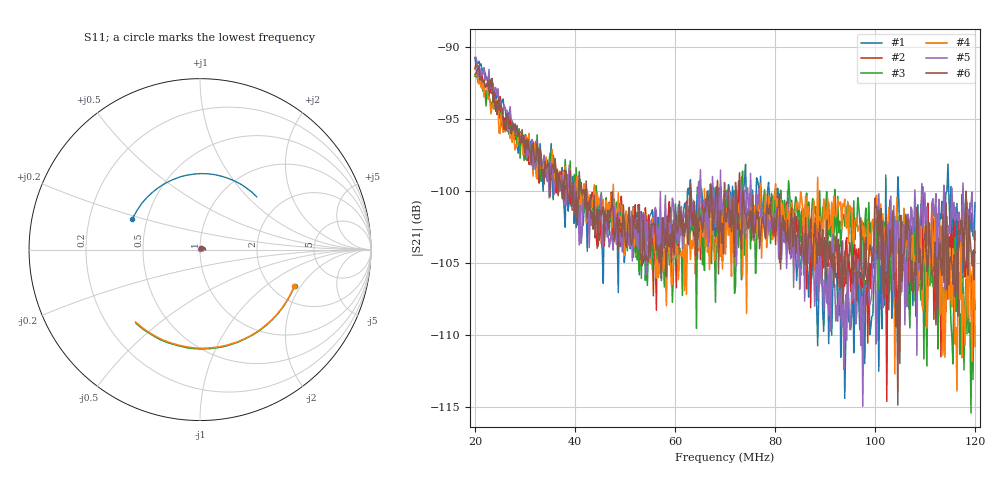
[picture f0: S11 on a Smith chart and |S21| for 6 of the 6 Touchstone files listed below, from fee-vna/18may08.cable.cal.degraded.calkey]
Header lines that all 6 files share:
! Anritsu VNA Master:  Model: MS2036C/10/77
! SN:  1601066
! Existing Calibration Information:
! TYPE:  Current Settings,  Active Cal Settings
! # POINTS:  500,  500
! START FREQ:  20.000 MHz,  20.000 MHz
! STOP FREQ:  120.000 MHz,  120.000 MHz
! SOURCE POWER:  High,  High
! IFBW:  50 Hz,  50 Hz
! AVG FACTOR:  1 ,  1
! REF PLANE 1:  0 mm,  0 mm
! REF PLANE 2:  0 mm,  0 mm
! CAL TYPE:  Full S11,  Full S11
! CAL METHOD:  SOLT,  SOLT
! CAL LINE TYPE:  Coax,  Coax
! DUT PORT 1:  K-Conn(F),  K-Conn(F)
! DUT PORT 2:  K-Conn(F),  K-Conn(F)
! CAL STATUS:  OK: Accuracy High,  --
# GHZ S DB R 50.0
! FREQ.GHZ  S11DB  S11A  S21DB  S21A  S12DB  S12A  S22DB  S22A
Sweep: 20 MHz to 120 MHz
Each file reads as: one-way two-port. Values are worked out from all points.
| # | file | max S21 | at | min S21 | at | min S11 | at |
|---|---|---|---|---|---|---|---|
| 1 | bot.20.2.s2p | -90.72 dB | 20 MHz | -114.4 dB | 93.95 MHz | -7.3 dB | 25.81 MHz |
| 2 | bot.49p99.1.s2p | -91.08 dB | 20.2 MHz | -114.6 dB | 102.4 MHz | -39.6 dB | 20.2 MHz |
| 3 | bot.194p65.1.s2p | -91.95 dB | 20.4 MHz | -115.4 dB | 119.2 MHz | -4.9 dB | 119.8 MHz |
| 4 | bot.200.2.s2p | -91.65 dB | 20.4 MHz | -113.9 dB | 116.4 MHz | -4.9 dB | 119.2 MHz |
| 5 | unused.19p46.anomalous.0.s2p | -90.69 dB | 20.2 MHz | -115.0 dB | 97.56 MHz | -54.7 dB | 20 MHz |
| 6 | unused.49p99.1.s2p | -91.28 dB | 20.8 MHz | -114.9 dB | 104.6 MHz | -39.8 dB | 20 MHz |
